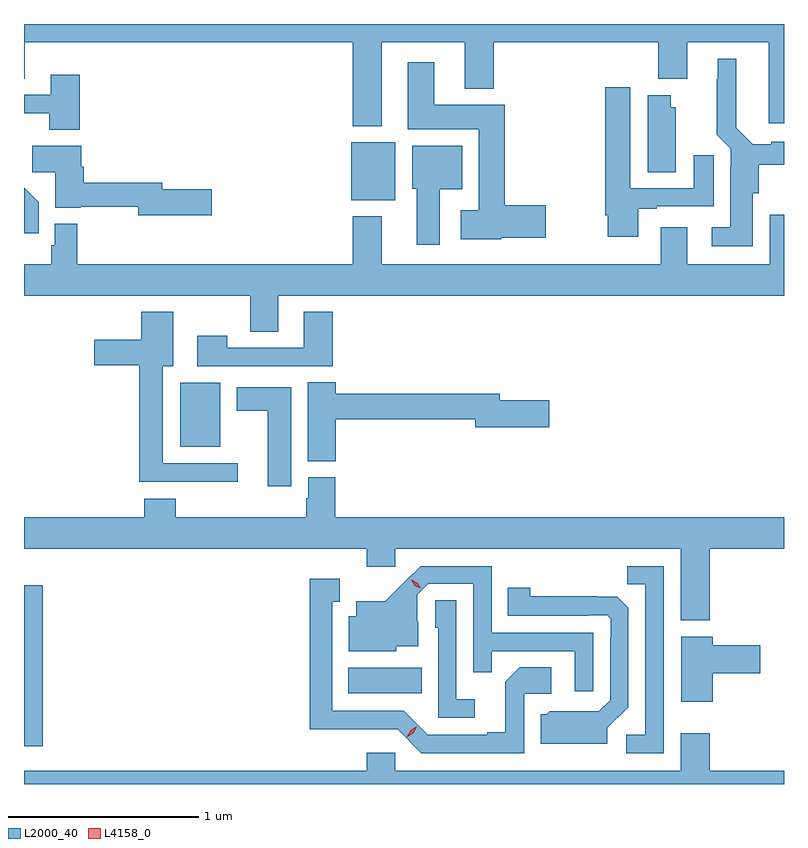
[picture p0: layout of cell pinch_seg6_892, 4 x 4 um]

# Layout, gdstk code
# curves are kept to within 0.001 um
import gdstk
lib = gdstk.Library(unit=1e-6, precision=1e-09)
def R(c, l, rs):  # rectangles x0, y0, x1, y1
    for r in rs: c.add(gdstk.rectangle(r[:2], r[2:], *l))
def P(c, l, *ps):  # polygons
    for p in ps: c.add(gdstk.Polygon(p, *l))
L2000_40 = (2000, 40)
L4158_0 = (4158, 0)

pinch_seg6_892 = lib.new_cell('pinch_seg6_892')
R(pinch_seg6_892, L2000_40, [(335.684,923.652,335.783,924.499), (337.391,923.93,337.778,924.064), (336.506,925.229,336.718,925.564), (337.406,926.525,337.639,926.83)])
P(pinch_seg6_892, L2000_40, [(337.567,927.356),(338.003,927.356),(338.003,927.113),(338.156,927.113),(338.156,927.356),(339.023,927.356),(339.023,927.164),(339.175,927.164),(339.175,927.356),(339.605,927.356),(339.605,926.931),(339.684,926.931),(339.684,927.453),(335.684,927.453),(335.684,927.166),(335.689,927.166),(335.689,927.356),(337.415,927.356),(337.415,926.915),(337.567,926.915)],
  [(339.52,926.562),(339.551,926.562),(339.551,926.711),(339.684,926.711),(339.684,926.833),(339.618,926.833),(339.618,926.821),(339.519,926.821),(339.433,926.908),(339.433,927.271),(339.335,927.271),(339.335,927.161),(339.331,927.161),(339.331,926.87),(339.405,926.796),(339.405,926.702),(339.401,926.702),(339.401,926.383),(339.303,926.383),(339.303,926.282),(339.52,926.282)],
  [(338.196,926.327),(338.431,926.327),(338.431,926.498),(338.213,926.498),(338.213,927.028),(337.843,927.028),(337.843,927.253),(337.703,927.253),(337.703,926.9),(338.078,926.9),(338.078,926.473),(337.983,926.473),(337.983,926.321),(338.196,926.321)],
  [(335.978,927.187),(335.825,927.187),(335.825,927.081),(335.684,927.081),(335.684,926.982),(335.818,926.982),(335.818,926.897),(335.978,926.897)],
  [(338.917,926.481),(339.013,926.481),(339.013,926.493),(339.313,926.493),(339.313,926.761),(339.209,926.761),(339.209,926.589),(338.875,926.589),(338.875,927.121),(338.744,927.121),(338.744,926.446),(338.756,926.446),(338.756,926.334),(338.917,926.334)],
  [(339.115,927.015),(339.088,927.015),(339.088,927.079),(338.966,927.079),(338.966,926.674),(339.115,926.674)],
  [(337.873,926.582),(337.99,926.582),(337.99,926.812),(337.727,926.812),(337.727,926.586),(337.751,926.586),(337.751,926.292),(337.873,926.292)],
  [(336.673,926.582),(336.412,926.582),(336.412,926.618),(335.999,926.618),(335.999,926.702),(335.986,926.702),(335.986,926.812),(335.728,926.812),(335.728,926.674),(335.849,926.674),(335.849,926.486),(335.982,926.486),(335.982,926.49),(336.284,926.49),(336.284,926.447),(336.673,926.447)],
  [(335.762,926.514),(335.684,926.592),(335.684,926.352),(335.762,926.352)],
  [(335.963,926.401),(335.847,926.401),(335.847,926.289),(335.827,926.289),(335.827,926.188),(335.684,926.188),(335.684,926.024),(336.874,926.024),(336.874,925.834),(337.021,925.834),(337.021,926.024),(339.684,926.024),(339.684,926.449),(339.609,926.449),(339.609,926.188),(339.175,926.188),(339.175,926.383),(339.035,926.383),(339.035,926.188),(337.567,926.188),(337.567,926.44),(337.415,926.44),(337.415,926.188),(335.963,926.188)],
  [(337.31,925.939),(337.157,925.939),(337.157,925.749),(336.753,925.749),(336.753,925.813),(336.597,925.813),(336.597,925.653),(337.31,925.653)],
  [(336.808,925.14),(336.415,925.14),(336.415,925.652),(336.469,925.652),(336.469,925.939),(336.302,925.939),(336.302,925.792),(336.054,925.792),(336.054,925.658),(336.29,925.658),(336.29,925.043),(336.808,925.043)],
  [(337.325,925.372),(338.06,925.372),(338.06,925.33),(338.449,925.33),(338.449,925.472),(338.188,925.472),(338.188,925.508),(337.325,925.508),(337.325,925.568),(337.178,925.568),(337.178,925.153),(337.325,925.153)],
  [(337.09,925.54),(336.803,925.54),(336.803,925.418),(336.968,925.418),(336.968,925.02),(337.09,925.02)],
  [(339.293,924.692),(339.684,924.692),(339.684,924.856),(337.322,924.856),(337.322,925.068),(337.181,925.068),(337.181,924.957),(337.169,924.957),(337.169,924.856),(336.482,924.856),(336.482,924.955),(336.317,924.955),(336.317,924.856),(335.684,924.856),(335.684,924.692),(337.487,924.692),(337.487,924.597),(337.638,924.597),(337.638,924.692),(339.14,924.692),(339.14,924.314),(339.293,924.314)],
  [(338.679,924.249),(338.145,924.249),(338.145,924.6),(337.772,924.6),(337.585,924.415),(337.433,924.415),(337.433,924.337),(337.394,924.337),(337.394,924.152),(337.644,924.152),(337.644,924.179),(337.759,924.179),(337.759,924.308),(337.755,924.308),(337.755,924.45),(337.812,924.507),(338.049,924.507),(338.049,924.04),(338.147,924.04),(338.147,924.153),(338.583,924.153),(338.583,923.94),(338.679,923.94)],
  [(339.051,924.6),(338.86,924.6),(338.86,924.505),(338.955,924.505),(338.955,923.712),(338.853,923.712),(338.853,923.616),(339.051,923.616)],
  [(338.316,923.928),(338.458,923.928),(338.458,924.068),(338.293,924.068),(338.217,923.992),(338.217,923.725),(338.123,923.725),(338.123,923.712),(337.809,923.712),(337.683,923.838),(337.306,923.838),(337.306,924.411),(337.345,924.411),(337.345,924.532),(337.188,924.532),(337.188,923.741),(337.65,923.742),(337.776,923.616),(338.316,923.616)],
  [(338.755,923.748),(338.865,923.858),(338.865,924.38),(338.806,924.439),(338.349,924.44),(338.349,924.487),(338.23,924.487),(338.23,924.339),(338.654,924.339),(338.654,924.342),(338.754,924.342),(338.772,924.324),(338.772,924.224),(338.769,924.224),(338.769,923.895),(338.709,923.835),(338.452,923.836),(338.436,923.82),(338.405,923.82),(338.405,923.666),(338.755,923.666)],
  [(338.056,923.899),(337.959,923.899),(337.959,924.419),(337.848,924.419),(337.848,924.276),(337.863,924.276),(337.863,923.802),(338.056,923.802)],
  [(339.31,924.035),(339.559,924.035),(339.559,924.182),(339.31,924.182),(339.31,924.229),(339.143,924.229),(339.143,923.886),(339.31,923.886)],
  [(339.684,923.524),(339.293,923.524),(339.293,923.719),(339.14,923.719),(339.14,923.524),(337.638,923.524),(337.638,923.617),(337.487,923.617),(337.487,923.524),(335.684,923.524),(335.684,923.453),(339.684,923.453)])
P(pinch_seg6_892, L4158_0, [(337.77,924.482),(337.74,924.497),(337.722,924.527),(337.722,924.527),(337.723,924.527),(337.753,924.512),(337.771,924.482),(337.771,924.482)],
  [(337.702,923.703),(337.702,923.704),(337.72,923.736),(337.752,923.756),(337.752,923.756),(337.752,923.756),(337.734,923.723),(337.703,923.703)])

lib.write_gds('pinch_seg6_892.gds')
